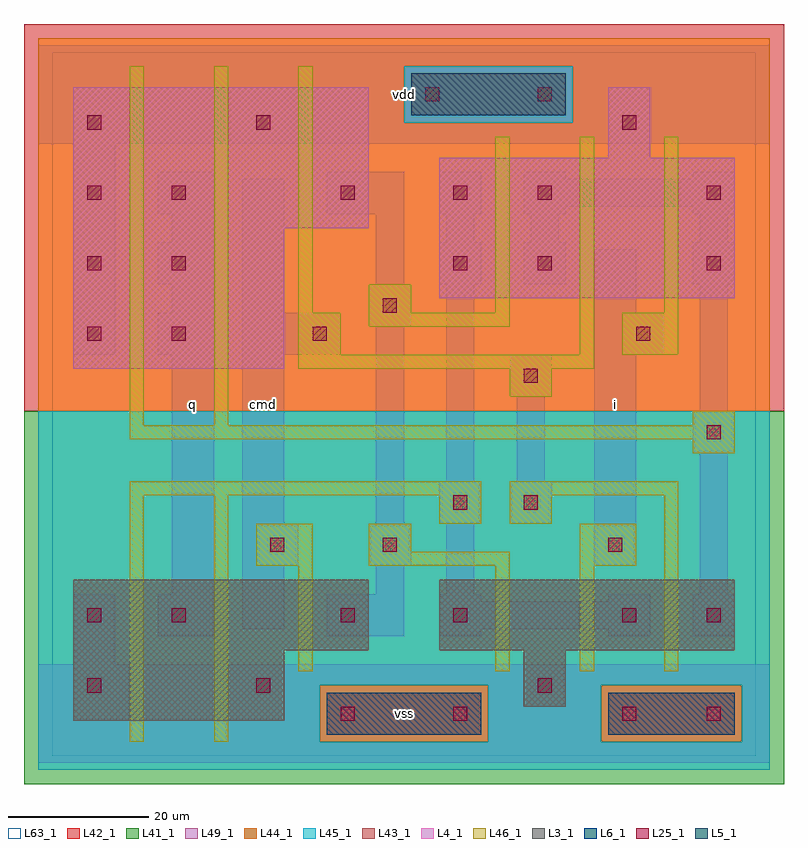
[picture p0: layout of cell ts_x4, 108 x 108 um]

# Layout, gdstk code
import gdstk
lib = gdstk.Library(unit=1e-6, precision=1e-09)
def R(c, l, rs):  # rectangles x0, y0, x1, y1
    for r in rs: c.add(gdstk.rectangle(r[:2], r[2:], *l))
def A(c, l, x, y, w, h, nx, ny, dx, dy):  # array of equal rectangles
    R(c, l, [(x+i*dx, y+j*dy, x+i*dx+w, y+j*dy+h) for i in range(nx) for j in range(ny)])
L3_1 = (3, 1)
L4_1 = (4, 1)
L5_1 = (5, 1)
L6_1 = (6, 1)
L25_1 = (25, 1)
L41_1 = (41, 1)
L42_1 = (42, 1)
L43_1 = (43, 1)
L44_1 = (44, 1)
L45_1 = (45, 1)
L46_1 = (46, 1)
L49_1 = (49, 1)
L63_1 = (63, 1)

ts_x4 = lib.new_cell('ts_x4')
R(ts_x4, L3_1, [(3,5,33,15), (67,7,73,15), (3,15,45,25), (55,15,97,25)])
R(ts_x4, L4_1, [(3,55,33,75), (55,65,97,85), (3,75,45,95), (79,85,85,95)])
R(ts_x4, L5_1, [(51,91,73,97)])
R(ts_x4, L6_1, [(39,3,61,9), (79,3,97,9)])
A(ts_x4, L25_1, 5, 59, 2, 2, 1, 4, 0, 10)
A(ts_x4, L25_1, 17, 59, 2, 2, 1, 3, 0, 10)
R(ts_x4, L25_1, [(41,5,43,7), (57,5,59,7), (81,5,83,7), (93,5,95,7), (5,9,7,11), (29,9,31,11), (69,9,71,11), (5,19,7,21), (17,19,19,21), (41,19,43,21), (57,19,59,21), (81,19,83,21), (93,19,95,21), (31,29,33,31), (47,29,49,31), (79,29,81,31), (57,35,59,37), (67,35,69,37), (93,45,95,47), (67,53,69,55), (37,59,39,61), (83,59,85,61), (47,63,49,65), (57,69,59,71), (69,69,71,71), (93,69,95,71), (41,79,43,81), (57,79,59,81), (69,79,71,81), (93,79,95,81), (29,89,31,91), (81,89,83,91), (53,93,55,95), (69,93,71,95)])
R(ts_x4, L41_1, [(-4,-4,104,49)])
R(ts_x4, L42_1, [(-4,49,104,104)])
R(ts_x4, L43_1, [(39,3,61,9), (79,3,97,9), (3,5,33,15), (67,7,73,15), (3,15,45,25), (55,15,97,25), (3,55,33,75), (55,65,97,85), (3,75,45,95), (79,85,85,95), (51,91,73,97)])
R(ts_x4, L44_1, [(38,2,62,10), (78,2,98,10), (-2,49,102,90), (-2,90,50,98), (74,90,102,98), (-2,98,102,102)])
R(ts_x4, L45_1, [(-2,-2,102,2), (-2,2,38,10), (62,2,78,10), (98,2,102,10), (-2,10,102,49), (50,90,74,98)])
R(ts_x4, L46_1, [(11,2,13,37), (23,2,25,37), (35,12,37,27), (63,12,65,27), (75,12,77,27), (87,12,89,37), (29,27,37,33), (45,27,65,29), (75,27,83,33), (45,29,51,33), (55,33,61,37), (65,33,71,37), (11,37,61,39), (65,37,89,39), (91,43,97,45), (11,45,97,47), (11,47,13,98), (23,47,25,98), (91,47,97,49), (65,51,71,55), (35,55,77,57), (35,57,41,63), (75,57,77,88), (81,57,89,63), (45,61,65,63), (35,63,37,98), (45,63,51,67), (63,63,65,88), (87,63,89,88)])
A(ts_x4, L49_1, 15, 57, 8, 6, 1, 3, 0, 10)
R(ts_x4, L49_1, [(-2,-1,102,13), (3,13,9,23), (15,17,23,23), (39,17,50,23), (55,17,61,18), (79,17,85,18), (91,17,97,23), (27,18,33,27), (55,18,85,22), (55,22,61,23), (79,22,85,23), (17,23,23,57), (46,23,50,27), (56,23,60,33), (92,23,96,43), (27,27,35,33), (45,27,51,33), (77,27,83,57), (27,33,33,57), (46,33,50,61), (55,33,61,39), (65,33,71,39), (56,39,60,67), (66,39,70,51), (91,43,97,49), (92,49,96,67), (65,51,71,57), (3,57,9,87), (27,57,41,63), (77,57,87,63), (45,61,51,67), (17,63,23,67), (27,63,33,82), (77,63,83,72), (46,67,50,77), (55,67,61,73), (67,67,73,73), (91,67,97,73), (17,73,23,77), (56,73,60,77), (68,73,72,77), (92,73,96,77), (39,77,50,83), (55,77,61,83), (67,77,73,78), (91,77,97,78), (67,78,97,82), (67,82,73,83), (91,82,97,83), (-2,87,102,101)])
R(ts_x4, L63_1, [(0,0,100,100)])
ts_x4.add(gdstk.Label('q', (20,50), layer=49, texttype=1))
ts_x4.add(gdstk.Label('q', (20,50), layer=49, texttype=1))
ts_x4.add(gdstk.Label('cmd', (30,50), layer=49, texttype=1))
ts_x4.add(gdstk.Label('cmd', (30,50), layer=49, texttype=1))
ts_x4.add(gdstk.Label('vss', (50,6), layer=49, texttype=1))
ts_x4.add(gdstk.Label('vss', (50,6), layer=49, texttype=1))
ts_x4.add(gdstk.Label('vdd', (50,94), layer=49, texttype=1))
ts_x4.add(gdstk.Label('vdd', (50,94), layer=49, texttype=1))
ts_x4.add(gdstk.Label('i', (80,50), layer=49, texttype=1))
ts_x4.add(gdstk.Label('i', (80,50), layer=49, texttype=1))

lib.write_gds('ts_x4.gds')
